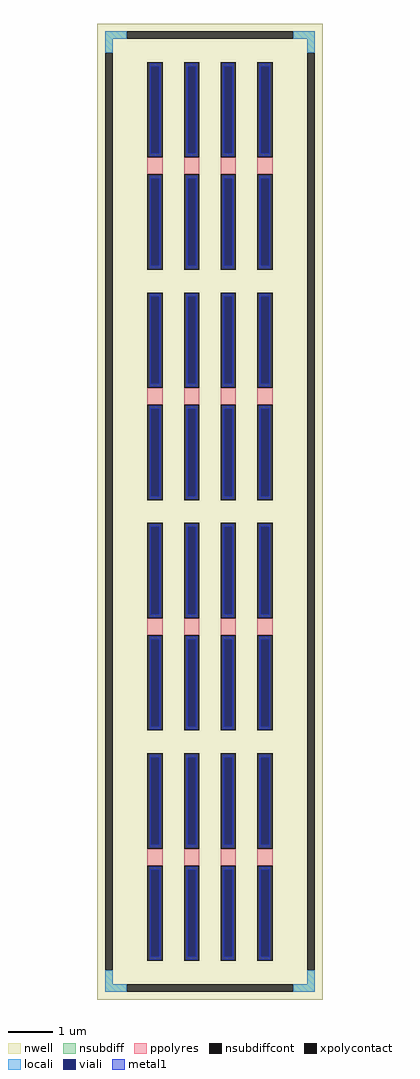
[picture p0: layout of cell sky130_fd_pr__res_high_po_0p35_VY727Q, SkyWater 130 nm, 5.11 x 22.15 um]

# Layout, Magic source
magic
tech sky130A
magscale 1 2
<< nwell >>
rect -511 -2215 511 2215
<< nsubdiff >>
rect -475 2145 -379 2179
rect 379 2145 475 2179
rect -475 2083 -441 2145
rect 441 2083 475 2145
rect -475 -2145 -441 -2083
rect 441 -2145 475 -2083
rect -475 -2179 -379 -2145
rect 379 -2179 475 -2145
<< nsubdiffcont >>
rect -379 2145 379 2179
rect -475 -2083 -441 2083
rect 441 -2083 475 2083
rect -379 -2179 379 -2145
<< xpolycontact >>
rect -284 1608 -214 2040
rect -284 1098 -214 1530
rect -118 1608 -48 2040
rect -118 1098 -48 1530
rect 48 1608 118 2040
rect 48 1098 118 1530
rect 214 1608 284 2040
rect 214 1098 284 1530
rect -284 562 -214 994
rect -284 52 -214 484
rect -118 562 -48 994
rect -118 52 -48 484
rect 48 562 118 994
rect 48 52 118 484
rect 214 562 284 994
rect 214 52 284 484
rect -284 -484 -214 -52
rect -284 -994 -214 -562
rect -118 -484 -48 -52
rect -118 -994 -48 -562
rect 48 -484 118 -52
rect 48 -994 118 -562
rect 214 -484 284 -52
rect 214 -994 284 -562
rect -284 -1530 -214 -1098
rect -284 -2040 -214 -1608
rect -118 -1530 -48 -1098
rect -118 -2040 -48 -1608
rect 48 -1530 118 -1098
rect 48 -2040 118 -1608
rect 214 -1530 284 -1098
rect 214 -2040 284 -1608
<< ppolyres >>
rect -284 1530 -214 1608
rect -118 1530 -48 1608
rect 48 1530 118 1608
rect 214 1530 284 1608
rect -284 484 -214 562
rect -118 484 -48 562
rect 48 484 118 562
rect 214 484 284 562
rect -284 -562 -214 -484
rect -118 -562 -48 -484
rect 48 -562 118 -484
rect 214 -562 284 -484
rect -284 -1608 -214 -1530
rect -118 -1608 -48 -1530
rect 48 -1608 118 -1530
rect 214 -1608 284 -1530
<< locali >>
rect -475 2145 -379 2179
rect 379 2145 475 2179
rect -475 2083 -441 2145
rect 441 2083 475 2145
rect -475 -2145 -441 -2083
rect 441 -2145 475 -2083
rect -475 -2179 -379 -2145
rect 379 -2179 475 -2145
<< viali >>
rect -268 1625 -230 2022
rect -102 1625 -64 2022
rect 64 1625 102 2022
rect 230 1625 268 2022
rect -268 1116 -230 1513
rect -102 1116 -64 1513
rect 64 1116 102 1513
rect 230 1116 268 1513
rect -268 579 -230 976
rect -102 579 -64 976
rect 64 579 102 976
rect 230 579 268 976
rect -268 70 -230 467
rect -102 70 -64 467
rect 64 70 102 467
rect 230 70 268 467
rect -268 -467 -230 -70
rect -102 -467 -64 -70
rect 64 -467 102 -70
rect 230 -467 268 -70
rect -268 -976 -230 -579
rect -102 -976 -64 -579
rect 64 -976 102 -579
rect 230 -976 268 -579
rect -268 -1513 -230 -1116
rect -102 -1513 -64 -1116
rect 64 -1513 102 -1116
rect 230 -1513 268 -1116
rect -268 -2022 -230 -1625
rect -102 -2022 -64 -1625
rect 64 -2022 102 -1625
rect 230 -2022 268 -1625
<< metal1 >>
rect -274 2022 -224 2034
rect -274 1625 -268 2022
rect -230 1625 -224 2022
rect -274 1613 -224 1625
rect -108 2022 -58 2034
rect -108 1625 -102 2022
rect -64 1625 -58 2022
rect -108 1613 -58 1625
rect 58 2022 108 2034
rect 58 1625 64 2022
rect 102 1625 108 2022
rect 58 1613 108 1625
rect 224 2022 274 2034
rect 224 1625 230 2022
rect 268 1625 274 2022
rect 224 1613 274 1625
rect -274 1513 -224 1525
rect -274 1116 -268 1513
rect -230 1116 -224 1513
rect -274 1104 -224 1116
rect -108 1513 -58 1525
rect -108 1116 -102 1513
rect -64 1116 -58 1513
rect -108 1104 -58 1116
rect 58 1513 108 1525
rect 58 1116 64 1513
rect 102 1116 108 1513
rect 58 1104 108 1116
rect 224 1513 274 1525
rect 224 1116 230 1513
rect 268 1116 274 1513
rect 224 1104 274 1116
rect -274 976 -224 988
rect -274 579 -268 976
rect -230 579 -224 976
rect -274 567 -224 579
rect -108 976 -58 988
rect -108 579 -102 976
rect -64 579 -58 976
rect -108 567 -58 579
rect 58 976 108 988
rect 58 579 64 976
rect 102 579 108 976
rect 58 567 108 579
rect 224 976 274 988
rect 224 579 230 976
rect 268 579 274 976
rect 224 567 274 579
rect -274 467 -224 479
rect -274 70 -268 467
rect -230 70 -224 467
rect -274 58 -224 70
rect -108 467 -58 479
rect -108 70 -102 467
rect -64 70 -58 467
rect -108 58 -58 70
rect 58 467 108 479
rect 58 70 64 467
rect 102 70 108 467
rect 58 58 108 70
rect 224 467 274 479
rect 224 70 230 467
rect 268 70 274 467
rect 224 58 274 70
rect -274 -70 -224 -58
rect -274 -467 -268 -70
rect -230 -467 -224 -70
rect -274 -479 -224 -467
rect -108 -70 -58 -58
rect -108 -467 -102 -70
rect -64 -467 -58 -70
rect -108 -479 -58 -467
rect 58 -70 108 -58
rect 58 -467 64 -70
rect 102 -467 108 -70
rect 58 -479 108 -467
rect 224 -70 274 -58
rect 224 -467 230 -70
rect 268 -467 274 -70
rect 224 -479 274 -467
rect -274 -579 -224 -567
rect -274 -976 -268 -579
rect -230 -976 -224 -579
rect -274 -988 -224 -976
rect -108 -579 -58 -567
rect -108 -976 -102 -579
rect -64 -976 -58 -579
rect -108 -988 -58 -976
rect 58 -579 108 -567
rect 58 -976 64 -579
rect 102 -976 108 -579
rect 58 -988 108 -976
rect 224 -579 274 -567
rect 224 -976 230 -579
rect 268 -976 274 -579
rect 224 -988 274 -976
rect -274 -1116 -224 -1104
rect -274 -1513 -268 -1116
rect -230 -1513 -224 -1116
rect -274 -1525 -224 -1513
rect -108 -1116 -58 -1104
rect -108 -1513 -102 -1116
rect -64 -1513 -58 -1116
rect -108 -1525 -58 -1513
rect 58 -1116 108 -1104
rect 58 -1513 64 -1116
rect 102 -1513 108 -1116
rect 58 -1525 108 -1513
rect 224 -1116 274 -1104
rect 224 -1513 230 -1116
rect 268 -1513 274 -1116
rect 224 -1525 274 -1513
rect -274 -1625 -224 -1613
rect -274 -2022 -268 -1625
rect -230 -2022 -224 -1625
rect -274 -2034 -224 -2022
rect -108 -1625 -58 -1613
rect -108 -2022 -102 -1625
rect -64 -2022 -58 -1625
rect -108 -2034 -58 -2022
rect 58 -1625 108 -1613
rect 58 -2022 64 -1625
rect 102 -2022 108 -1625
rect 58 -2034 108 -2022
rect 224 -1625 274 -1613
rect 224 -2022 230 -1625
rect 268 -2022 274 -1625
rect 224 -2034 274 -2022
<< properties >>
string FIXED_BBOX -458 -2162 458 2162
string gencell sky130_fd_pr__res_high_po_0p35
string library sky130
string parameters w 0.350 l 0.55 m 4 nx 4 wmin 0.350 lmin 0.50 rho 319.8 val 1.615k dummy 0 dw 0.0 term 194.82 sterm 0.0 caplen 0 guard 1 glc 1 grc 1 gtc 1 gbc 1 compatible {sky130_fd_pr__res_high_po_0p35  sky130_fd_pr__res_high_po_0p69 sky130_fd_pr__res_high_po_1p41  sky130_fd_pr__res_high_po_2p85 sky130_fd_pr__res_high_po_5p73} snake 0 full_metal 1 wmax 0.350 vias 1 n_guard 1 hv_guard 0 viagb 0 viagt 0 viagl 0 viagr 0
<< end >>
